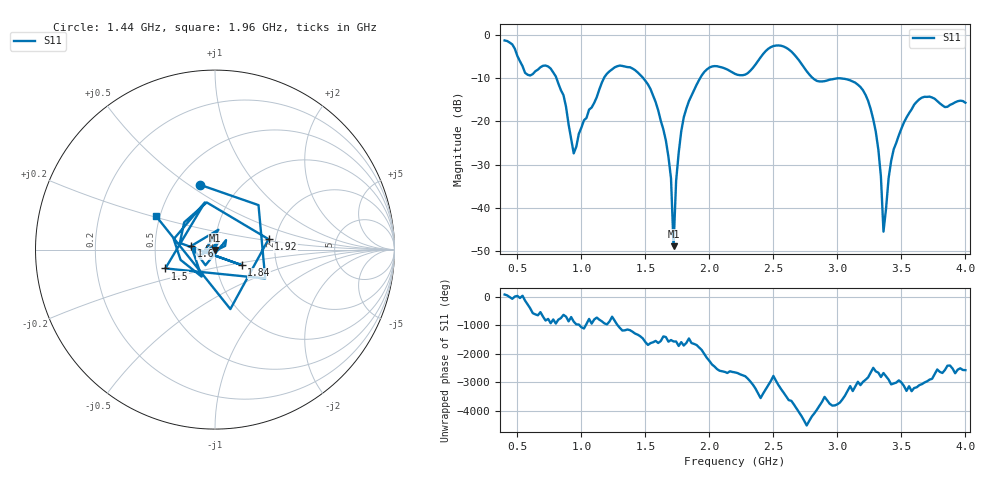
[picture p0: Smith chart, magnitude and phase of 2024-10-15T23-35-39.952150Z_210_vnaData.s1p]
! Created with skrf (http://scikit-rf.org).
# Hz S RI R 50.0
!freq ReS11 ImS11
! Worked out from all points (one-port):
!   181 points, 400 MHz to 4 GHz, reference 50 ohm
!   lowest |S11| = -49.0 dB at 1.72 GHz (marker M1), VSWR 1.01, Z = 49.7 - j0.246 ohm
!   |S11| at or under -10 dB: 805.6 MHz to 1.175 GHz (369.7 MHz wide, 37.3 % of centre); 1.485 GHz to 1.927 GHz (442 MHz wide, 25.9 % of centre); 3.026 GHz to end of sweep (the widest 3 of 4)
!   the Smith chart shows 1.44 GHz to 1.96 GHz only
!   S11 on the Smith chart (normalised r, x): 1.44 GHz: 0.66, +0.55; 1.5 GHz: 0.56, -0.13; 1.6 GHz: 0.76, +0.03; 1.84 GHz: 1.33, -0.24; 1.92 GHz: 1.83, +0.23; 1.96 GHz: 0.48, +0.21
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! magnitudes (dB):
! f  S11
! 400 MHz  -1.2
! 580 MHz  -9.2
! 760 MHz  -7.7
! 860 MHz  -13.9
! 940 MHz  -27.4
! 1.18 GHz  -9.7
! 1.3 GHz  -7.0
! 1.44 GHz  -8.6
! 1.5 GHz  -10.6
! 1.6 GHz  -17.4
! 1.7 GHz  -33.2
! 1.72 GHz  -49.0
! 1.74 GHz  -33.8
! 1.76 GHz  -27.3
! 1.84 GHz  -15.3
! 1.92 GHz  -10.3
! 1.96 GHz  -8.5
! 2.2 GHz  -9.0
! 2.5 GHz  -2.5
! 2.66 GHz  -4.4
! 2.84 GHz  -10.6
! 3.1 GHz  -10.5
! 3.28 GHz  -19.5
! 3.34 GHz  -32.8
! 3.36 GHz  -45.6
! 3.42 GHz  -29.2
! 3.56 GHz  -18.1
! 4 GHz  -15.6
